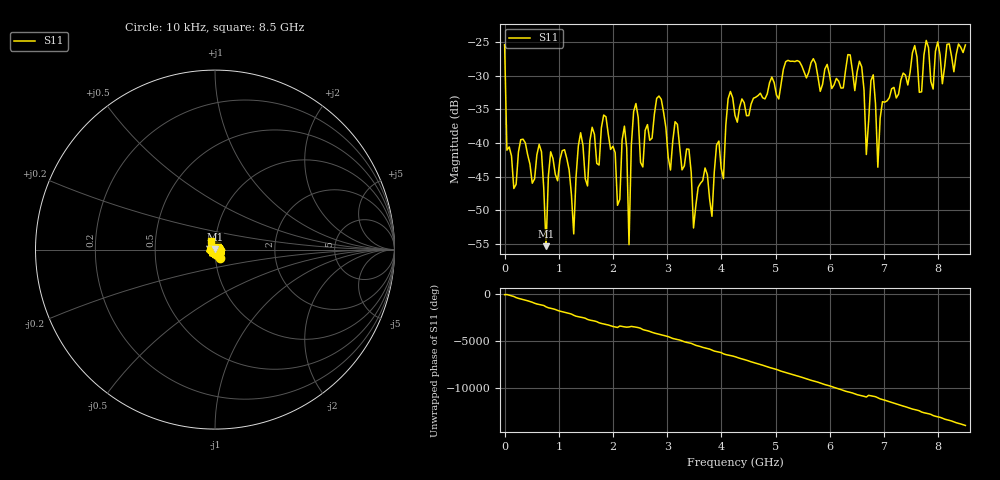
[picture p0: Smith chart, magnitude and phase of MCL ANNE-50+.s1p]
#  HZ  S  RI  R  50.00
! Rohde & Schwarz Vector Network Analyzer
! Rohde-Schwarz,ZNB8-4Port,REDACTED,3.12
! Created: UTC 3/23/2026, 9:16:31 PM
! MCL ANNE-50+
! freq[Hz]  re:S11  im:S11
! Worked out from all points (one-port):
!   201 points, 10 kHz to 8.5 GHz, reference 50 ohm
!   lowest |S11| = -55.4 dB at 765 MHz (marker M1), VSWR 1.00, Z = 50 + j0.17 ohm
!   |S11| at or under -10 dB: start of sweep to end of sweep
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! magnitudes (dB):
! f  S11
! 10 kHz  -25.4
! 42.51 MHz  -41.1
! 170 MHz  -46.8
! 637.5 MHz  -40.2
! 765 MHz  -55.4
! 850 MHz  -41.3
! 1.063 GHz  -41.2
! 1.275 GHz  -53.6
! 1.403 GHz  -38.5
! 1.53 GHz  -46.4
! 1.828 GHz  -35.8
! 2.125 GHz  -48.4
! 2.21 GHz  -37.5
! 2.295 GHz  -55.1
! 2.423 GHz  -34.1
! 2.55 GHz  -43.6
! 3.188 GHz  -37.2
! 3.485 GHz  -52.7
! 4.25 GHz  -35.9
! 5.313 GHz  -27.8
! 6.375 GHz  -26.9
! 6.588 GHz  -28.7
! 6.673 GHz  -41.7
! 6.8 GHz  -29.9
! 6.885 GHz  -43.6
! 6.97 GHz  -33.9
! 7.438 GHz  -31.4
! 8.5 GHz  -25.4
